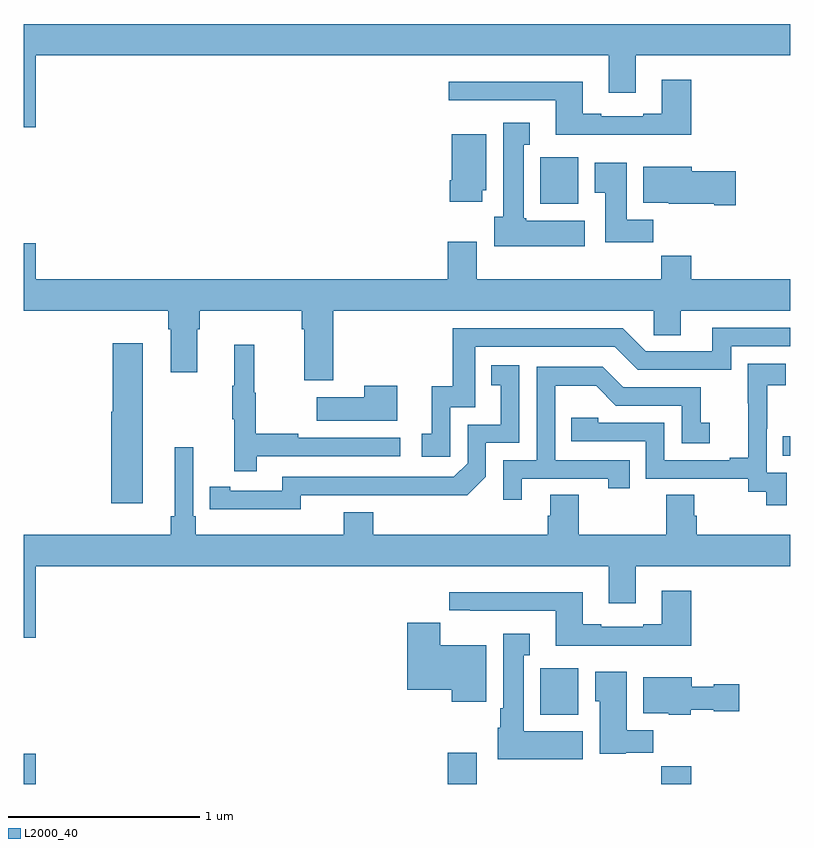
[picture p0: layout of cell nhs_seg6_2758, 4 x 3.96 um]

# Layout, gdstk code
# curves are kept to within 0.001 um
import gdstk
lib = gdstk.Library(unit=1e-6, precision=1e-09)
def R(c, l, rs):  # rectangles x0, y0, x1, y1
    for r in rs: c.add(gdstk.rectangle(r[:2], r[2:], *l))
def P(c, l, *ps):  # polygons
    for p in ps: c.add(gdstk.Polygon(p, *l))
L2000_40 = (2000, 40)

nhs_seg6_2758 = lib.new_cell('nhs_seg6_2758')
R(nhs_seg6_2758, L2000_40, [(273,979.5,273.064,979.657), (275.213,979.5,275.365,979.663), (276.325,979.5,276.482,979.592), (275.696,979.862,275.893,980.104), (276.961,981.213,277,981.314), (275.696,982.526,275.893,982.768)])
P(nhs_seg6_2758, L2000_40, [(273.064,983.3),(276.053,983.3),(276.053,983.106),(276.193,983.106),(276.193,983.3),(277,983.3),(277,983.464),(273,983.464),(273,982.926),(273.064,982.926)],
  [(276.482,983.173),(276.329,983.173),(276.329,982.996),(276.233,982.996),(276.233,982.983),(276.013,982.983),(276.013,982.996),(275.917,982.996),(275.917,983.164),(275.217,983.164),(275.217,983.067),(275.777,983.067),(275.777,982.886),(276.482,982.886)],
  [(275.926,982.438),(275.622,982.438),(275.622,982.452),(275.608,982.452),(275.608,982.835),(275.641,982.835),(275.641,982.948),(275.501,982.948),(275.501,982.458),(275.456,982.458),(275.456,982.304),(275.926,982.304)],
  [(275.392,982.596),(275.413,982.596),(275.413,982.888),(275.234,982.888),(275.234,982.648),(275.222,982.648),(275.222,982.536),(275.392,982.536)],
  [(276.284,982.444),(276.145,982.444),(276.145,982.741),(275.978,982.741),(275.978,982.585),(276.035,982.585),(276.035,982.326),(276.284,982.326)],
  [(276.715,982.697),(276.484,982.697),(276.484,982.72),(276.233,982.72),(276.233,982.532),(276.366,982.532),(276.366,982.526),(276.602,982.526),(276.602,982.519),(276.715,982.519)],
  [(274.616,981.968),(276.288,981.968),(276.288,981.841),(276.427,981.841),(276.427,981.968),(277,981.968),(277,982.132),(276.482,982.132),(276.482,982.256),(276.325,982.256),(276.325,982.132),(275.365,982.132),(275.365,982.327),(275.213,982.327),(275.213,982.132),(273.064,982.132),(273.064,982.321),(273,982.321),(273,981.968),(273.755,981.968),(273.755,981.872),(273.767,981.872),(273.767,981.648),(273.907,981.648),(273.907,981.872),(273.92,981.872),(273.92,981.968),(274.451,981.968),(274.451,981.872),(274.463,981.872),(274.463,981.606),(274.616,981.606)],
  [(275.226,981.465),(275.355,981.465),(275.355,981.78),(276.084,981.78),(276.204,981.66),(276.69,981.66),(276.69,981.783),(277,981.783),(277,981.879),(276.593,981.879),(276.593,981.756),(276.246,981.756),(276.126,981.876),(275.239,981.876),(275.239,981.574),(275.129,981.574),(275.129,981.327),(275.076,981.327),(275.076,981.207),(275.226,981.207)],
  [(273.622,981.799),(273.464,981.799),(273.464,981.441),(273.458,981.441),(273.458,980.964),(273.622,980.964)],
  [(274.217,981.21),(274.966,981.21),(274.966,981.306),(274.433,981.306),(274.433,981.326),(274.21,981.326),(274.21,981.54),(274.202,981.54),(274.202,981.79),(274.1,981.79),(274.1,981.577),(274.089,981.577),(274.089,981.403),(274.1,981.403),(274.1,981.132),(274.217,981.132)],
  [(276.981,981.123),(276.876,981.123),(276.876,981.353),(276.878,981.353),(276.878,981.581),(276.976,981.581),(276.976,981.691),(276.778,981.691),(276.778,981.485),(276.779,981.485),(276.779,981.202),(276.683,981.202),(276.683,981.189),(276.342,981.189),(276.342,981.384),(275.997,981.384),(275.997,981.411),(275.857,981.411),(275.857,981.288),(276.246,981.288),(276.246,981.093),(276.78,981.093),(276.78,981.025),(276.873,981.025),(276.873,980.955),(276.981,980.955)],
  [(274.446,981.006),(275.314,981.005),(275.412,981.102),(275.412,981.279),(275.586,981.279),(275.586,981.685),(275.44,981.685),(275.44,981.579),(275.489,981.579),(275.489,981.375),(275.316,981.375),(275.316,981.174),(275.244,981.102),(274.35,981.102),(274.35,981.03),(274.078,981.03),(274.078,981.05),(273.97,981.05),(273.97,980.934),(274.446,980.933)],
  [(275.599,981.093),(276.05,981.093),(276.05,981.042),(276.161,981.042),(276.161,981.189),(275.772,981.189),(275.772,981.578),(275.986,981.578),(276.09,981.474),(276.432,981.474),(276.432,981.276),(276.58,981.276),(276.58,981.385),(276.531,981.385),(276.531,981.57),(276.127,981.57),(276.022,981.675),(275.676,981.675),(275.676,981.189),(275.502,981.189),(275.502,980.982),(275.599,980.982)],
  [(274.948,981.577),(274.778,981.577),(274.778,981.517),(274.529,981.517),(274.529,981.395),(274.948,981.395)],
  [(273.064,980.636),(276.053,980.636),(276.053,980.442),(276.193,980.442),(276.193,980.636),(277,980.636),(277,980.8),(276.512,980.8),(276.512,980.898),(276.499,980.898),(276.499,981.008),(276.352,981.008),(276.352,980.8),(275.895,980.8),(275.895,981.008),(275.747,981.008),(275.747,980.898),(275.735,980.898),(275.735,980.8),(274.823,980.8),(274.823,980.917),(274.67,980.917),(274.67,980.8),(273.899,980.8),(273.899,980.896),(273.885,980.896),(273.885,981.256),(273.788,981.256),(273.788,980.896),(273.769,980.896),(273.769,980.8),(273,980.8),(273,980.262),(273.064,980.262)],
  [(276.482,980.509),(276.329,980.509),(276.329,980.332),(276.233,980.332),(276.233,980.319),(276.013,980.319),(276.013,980.332),(275.917,980.332),(275.917,980.5),(275.22,980.5),(275.22,980.405),(275.329,980.405),(275.329,980.403),(275.777,980.403),(275.777,980.222),(276.482,980.222)],
  [(275.413,980.224),(275.173,980.224),(275.173,980.34),(275,980.34),(275,979.991),(275.234,979.991),(275.234,979.928),(275.413,979.928)],
  [(275.917,979.774),(275.608,979.774),(275.608,980.171),(275.641,980.171),(275.641,980.284),(275.501,980.284),(275.501,979.894),(275.486,979.894),(275.486,979.794),(275.474,979.794),(275.474,979.628),(275.917,979.628)],
  [(276.141,979.662),(276.284,979.662),(276.284,979.78),(276.145,979.78),(276.145,980.086),(275.981,980.086),(275.981,979.932),(276.005,979.932),(276.005,979.658),(276.141,979.658)],
  [(276.48,979.886),(276.6,979.886),(276.6,979.879),(276.733,979.879),(276.733,980.021),(276.6,980.021),(276.6,980.008),(276.484,980.008),(276.484,980.056),(276.233,980.056),(276.233,979.868),(276.366,979.868),(276.366,979.862),(276.48,979.862)])

lib.write_gds('nhs_seg6_2758.gds')
